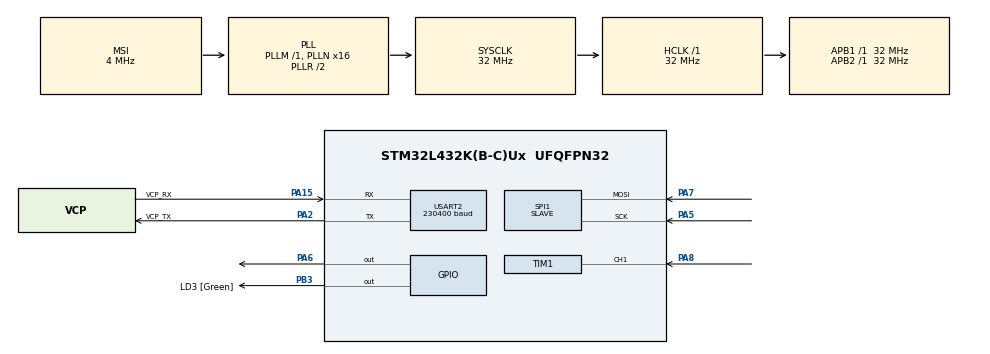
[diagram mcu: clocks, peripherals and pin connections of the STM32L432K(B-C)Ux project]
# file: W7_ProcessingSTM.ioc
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Mcu.Family=STM32L4
Mcu.Name=STM32L432K(B-C)Ux
Mcu.Package=UFQFPN32
NVIC.PriorityGroup=NVIC_PRIORITYGROUP_4
NVIC.SPI1_IRQn=true\:0\:0\:true\:false\:true\:true\:true\:true
NVIC.TIM1_CC_IRQn=true\:2\:0\:true\:false\:true\:true\:true\:true
NVIC.TIM1_UP_TIM16_IRQn=true\:3\:0\:true\:false\:true\:true\:true\:true
NVIC.TIM7_IRQn=true\:4\:0\:true\:false\:true\:true\:true\:true
NVIC.USART2_IRQn=true\:1\:0\:true\:false\:true\:true\:true\:true
PA0.GPIO_Label=MCO [High speed clock in]
PA0.Mode=HSE-External-Clock-Source-for-LittleOrca
PA0.Signal=RCC_CK_IN
PA13\ (JTMS-SWDIO).GPIO_Label=SWDIO
PA13\ (JTMS-SWDIO).Mode=Serial_Wire
PA13\ (JTMS-SWDIO).Signal=SYS_JTMS-SWDIO
PA14\ (JTCK-SWCLK).GPIO_Label=SWCLK
PA14\ (JTCK-SWCLK).Mode=Serial_Wire
PA14\ (JTCK-SWCLK).Signal=SYS_JTCK-SWCLK
PA15\ (JTDI).GPIO_Label=VCP_RX
PA15\ (JTDI).Mode=Asynchronous
PA15\ (JTDI).Signal=USART2_RX
PA2.GPIO_Label=VCP_TX
PA2.Mode=Asynchronous
PA2.Signal=USART2_TX
PA5.Mode=RX_Only_Simplex_Unidirect_Slave
PA5.Signal=SPI1_SCK
PA6.Signal=GPIO_Output
PA7.Mode=RX_Only_Simplex_Unidirect_Slave
PA7.Signal=SPI1_MOSI
PA8.Signal=S_TIM1_CH1
PB3\ (JTDO-TRACESWO).GPIO_Label=LD3 [Green]
PB3\ (JTDO-TRACESWO).Signal=GPIO_Output
PC14-OSC32_IN\ (PC14).Mode=LSE-External-Oscillator
PC14-OSC32_IN\ (PC14).Signal=RCC_OSC32_IN
PC15-OSC32_OUT\ (PC15).Mode=LSE-External-Oscillator
PC15-OSC32_OUT\ (PC15).Signal=RCC_OSC32_OUT
ProjectManager.HeapSize=0x200
ProjectManager.StackSize=0x400
ProjectManager.TargetToolchain=STM32CubeIDE
RCC.AHBFreq_Value=32000000
RCC.APB1Freq_Value=32000000
RCC.APB1TimFreq_Value=32000000
RCC.APB2Freq_Value=32000000
RCC.APB2TimFreq_Value=32000000
RCC.CortexFreq_Value=32000000
RCC.HCLKFreq_Value=32000000
RCC.HSE_VALUE=8000000
RCC.HSI16_VALUE=16000000
RCC.HSI48_VALUE=48000000
RCC.HSI_VALUE=16000000
RCC.MSI_VALUE=4000000
RCC.PLLMUL=RCC_PLLMUL_4
RCC.PLLN=16
RCC.SYSCLKFreq_VALUE=32000000
RCC.SYSCLKSource=RCC_SYSCLKSOURCE_PLLCLK
RCC.VCOOutputFreq_Value=64000000
SH.S_TIM1_CH1.0=TIM1_CH1,Input_Capture1_from_TI1
SPI1.DataSize=SPI_DATASIZE_8BIT
SPI1.Direction=SPI_DIRECTION_2LINES_RXONLY
SPI1.Mode=SPI_MODE_SLAVE
SPI1.VirtualType=VM_SLAVE
TIM1.Channel-Input_Capture1_from_TI1=TIM_CHANNEL_1
TIM1.ICPolarity_CH1=TIM_INPUTCHANNELPOLARITY_BOTHEDGE
TIM1.Prescaler=32-1
TIM16.Period=500-1
TIM16.Prescaler=32000-1
TIM6.Prescaler=32-1
TIM7.Period=1000-1
TIM7.Prescaler=32000-1
USART2.BaudRate=230400
USART2.VirtualMode-Asynchronous=VM_ASYNC
VP_TIM16_VS_ClockSourceINT.Mode=Enable_Timer
VP_TIM1_VS_ClockSourceINT.Mode=Internal
VP_TIM6_VS_ClockSourceINT.Mode=Enable_Timer
VP_TIM7_VS_ClockSourceINT.Mode=Enable_Timer
board=NUCLEO-L432KC

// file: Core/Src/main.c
/* USER CODE BEGIN Header */
/**
  ******************************************************************************
  * @file           : main.c
  * @brief          : Main program body
  ******************************************************************************
  * @attention
  *
  * Copyright (c) 2026 STMicroelectronics.
  * All rights reserved.
  *
  * This software is licensed under terms that can be found in the LICENSE file
  * in the root directory of this software component.
  * If no LICENSE file comes with this software, it is provided AS-IS.
  *
  ******************************************************************************
  */
/* USER CODE END Header */
#include "main.h"

/* USER CODE BEGIN Includes */
#include <stdio.h>
#include <string.h>
/* USER CODE END Includes */

SPI_HandleTypeDef hspi1;

TIM_HandleTypeDef htim1;
TIM_HandleTypeDef htim6;
TIM_HandleTypeDef htim7;
TIM_HandleTypeDef htim16;

UART_HandleTypeDef huart2;

/* USER CODE BEGIN PV */

#define MODE_IDLE      0
#define MODE_MANUAL    1
#define MODE_DISTANCE  2

#define RX_STATE_COMMAND   0
#define RX_STATE_DURATION  1

uint8_t RX_Buffer[2] = {0};
uint8_t MSB_8 = 0;
uint8_t LSB_8 = 0;
uint16_t ADC_output = 0;

uint16_t filtered_ADC_output = 0;

uint16_t ma_buffer[3] = {0, 0, 0};
uint8_t ma_index = 0;
uint8_t ma_count = 0;
uint32_t ma_sum = 0;

char string_1[64] = {0};

uint8_t adc_uart_bytes[2] = {0};

uint8_t uart_cmd[8] = {0};
uint8_t duration_bytes[4] = {0};
uint8_t rx_state = RX_STATE_COMMAND;

uint8_t mode = MODE_IDLE;
uint8_t recording_enabled = 0;

uint32_t manual_duration_seconds = 0;
uint32_t manual_elapsed_seconds = 0;

int flag = 0;
float distance = 0;
uint16_t count_1 = 0;
uint16_t count_2 = 0;
int min_distance = 10;
/* USER CODE END PV */

void SystemClock_Config(void);
static void MX_GPIO_Init(void);
static void MX_USART2_UART_Init(void);
static void MX_SPI1_Init(void);
static void MX_TIM1_Init(void);
static void MX_TIM6_Init(void);
static void MX_TIM16_Init(void);
static void MX_TIM7_Init(void);
/* USER CODE BEGIN PFP */
void delay_uS(uint16_t delay);
void HCSR04_Read(void);
uint16_t moving_average_filter(uint16_t new_sample);
/* USER CODE END PFP */

int main(void)
{

  /* MCU Configuration--------------------------------------------------------*/

  /* Reset of all peripherals, Initializes the Flash interface and the Systick. */
  HAL_Init();

  /* Configure the system clock */
  SystemClock_Config();

  /* Initialize all configured peripherals */
  MX_GPIO_Init();
  MX_USART2_UART_Init();
  MX_SPI1_Init();
  MX_TIM1_Init();
  MX_TIM6_Init();
  MX_TIM16_Init();
  MX_TIM7_Init();
  /* USER CODE BEGIN 2 */

  HAL_SPI_Receive_IT(&hspi1, RX_Buffer, 2); //Receive through SPI interrupt mode

  HAL_UART_Receive_IT(&huart2, uart_cmd, 8);

  HAL_TIM_Base_Start(&htim6);                     // microsecond delay timer
  HAL_TIM_Base_Start_IT(&htim16);                 // trigger ultrasonic every 500 ms
  HAL_TIM_IC_Start_IT(&htim1, TIM_CHANNEL_1);     // echo input capture
  /* USER CODE END 2 */

  /* Infinite loop */
  while (1)
  {

  }
}

void SystemClock_Config(void)
{
  RCC_OscInitTypeDef RCC_OscInitStruct = {0};
  RCC_ClkInitTypeDef RCC_ClkInitStruct = {0};

  /** Configure the main internal regulator output voltage
  */
  if (HAL_PWREx_ControlVoltageScaling(PWR_REGULATOR_VOLTAGE_SCALE1) != HAL_OK)
  {
    Error_Handler();
  }

  /** Configure LSE Drive Capability
  */
  HAL_PWR_EnableBkUpAccess();
  __HAL_RCC_LSEDRIVE_CONFIG(RCC_LSEDRIVE_LOW);

  /** Initializes the RCC Oscillators according to the specified parameters
  * in the RCC_OscInitTypeDef structure.
  */
  RCC_OscInitStruct.OscillatorType = RCC_OSCILLATORTYPE_LSE|RCC_OSCILLATORTYPE_MSI;
  RCC_OscInitStruct.LSEState = RCC_LSE_ON;
  RCC_OscInitStruct.MSIState = RCC_MSI_ON;
  RCC_OscInitStruct.MSICalibrationValue = 0;
  RCC_OscInitStruct.MSIClockRange = RCC_MSIRANGE_6;
  RCC_OscInitStruct.PLL.PLLState = RCC_PLL_ON;
  RCC_OscInitStruct.PLL.PLLSource = RCC_PLLSOURCE_MSI;
  RCC_OscInitStruct.PLL.PLLM = 1;
  RCC_OscInitStruct.PLL.PLLN = 16;
  RCC_OscInitStruct.PLL.PLLP = RCC_PLLP_DIV7;
  RCC_OscInitStruct.PLL.PLLQ = RCC_PLLQ_DIV2;
  RCC_OscInitStruct.PLL.PLLR = RCC_PLLR_DIV2;
  if (HAL_RCC_OscConfig(&RCC_OscInitStruct) != HAL_OK)
  {
    Error_Handler();
  }

  /** Initializes the CPU, AHB and APB buses clocks
  */
  RCC_ClkInitStruct.ClockType = RCC_CLOCKTYPE_HCLK|RCC_CLOCKTYPE_SYSCLK
                              |RCC_CLOCKTYPE_PCLK1|RCC_CLOCKTYPE_PCLK2;
  RCC_ClkInitStruct.SYSCLKSource = RCC_SYSCLKSOURCE_PLLCLK;
  RCC_ClkInitStruct.AHBCLKDivider = RCC_SYSCLK_DIV1;
  RCC_ClkInitStruct.APB1CLKDivider = RCC_HCLK_DIV1;
  RCC_ClkInitStruct.APB2CLKDivider = RCC_HCLK_DIV1;

  if (HAL_RCC_ClockConfig(&RCC_ClkInitStruct, FLASH_LATENCY_1) != HAL_OK)
  {
    Error_Handler();
  }

  /** Enable MSI Auto calibration
  */
  HAL_RCCEx_EnableMSIPLLMode();
}

static void MX_SPI1_Init(void)
{

  /* SPI1 parameter configuration*/
  hspi1.Instance = SPI1;
  hspi1.Init.Mode = SPI_MODE_SLAVE;
  hspi1.Init.Direction = SPI_DIRECTION_2LINES_RXONLY;
  hspi1.Init.DataSize = SPI_DATASIZE_8BIT;
  hspi1.Init.CLKPolarity = SPI_POLARITY_LOW;
  hspi1.Init.CLKPhase = SPI_PHASE_1EDGE;
  hspi1.Init.NSS = SPI_NSS_SOFT;
  hspi1.Init.FirstBit = SPI_FIRSTBIT_MSB;
  hspi1.Init.TIMode = SPI_TIMODE_DISABLE;
  hspi1.Init.CRCCalculation = SPI_CRCCALCULATION_DISABLE;
  hspi1.Init.CRCPolynomial = 7;
  hspi1.Init.CRCLength = SPI_CRC_LENGTH_DATASIZE;
  hspi1.Init.NSSPMode = SPI_NSS_PULSE_DISABLE;
  if (HAL_SPI_Init(&hspi1) != HAL_OK)
  {
    Error_Handler();
  }

}

static void MX_TIM1_Init(void)
{

  TIM_ClockConfigTypeDef sClockSourceConfig = {0};
  TIM_MasterConfigTypeDef sMasterConfig = {0};
  TIM_IC_InitTypeDef sConfigIC = {0};

  htim1.Instance = TIM1;
  htim1.Init.Prescaler = 32-1;
  htim1.Init.CounterMode = TIM_COUNTERMODE_UP;
  htim1.Init.Period = 65535;
  htim1.Init.ClockDivision = TIM_CLOCKDIVISION_DIV1;
  htim1.Init.RepetitionCounter = 0;
  htim1.Init.AutoReloadPreload = TIM_AUTORELOAD_PRELOAD_DISABLE;
  if (HAL_TIM_Base_Init(&htim1) != HAL_OK)
  {
    Error_Handler();
  }
  sClockSourceConfig.ClockSource = TIM_CLOCKSOURCE_INTERNAL;
  if (HAL_TIM_ConfigClockSource(&htim1, &sClockSourceConfig) != HAL_OK)
  {
    Error_Handler();
  }
  if (HAL_TIM_IC_Init(&htim1) != HAL_OK)
  {
    Error_Handler();
  }
  sMasterConfig.MasterOutputTrigger = TIM_TRGO_RESET;
  sMasterConfig.MasterOutputTrigger2 = TIM_TRGO2_RESET;
  sMasterConfig.MasterSlaveMode = TIM_MASTERSLAVEMODE_DISABLE;
  if (HAL_TIMEx_MasterConfigSynchronization(&htim1, &sMasterConfig) != HAL_OK)
  {
    Error_Handler();
  }
  sConfigIC.ICPolarity = TIM_INPUTCHANNELPOLARITY_BOTHEDGE;
  sConfigIC.ICSelection = TIM_ICSELECTION_DIRECTTI;
  sConfigIC.ICPrescaler = TIM_ICPSC_DIV1;
  sConfigIC.ICFilter = 0;
  if (HAL_TIM_IC_ConfigChannel(&htim1, &sConfigIC, TIM_CHANNEL_1) != HAL_OK)
  {
    Error_Handler();
  }

}

static void MX_TIM6_Init(void)
{

  TIM_MasterConfigTypeDef sMasterConfig = {0};

  htim6.Instance = TIM6;
  htim6.Init.Prescaler = 32-1;
  htim6.Init.CounterMode = TIM_COUNTERMODE_UP;
  htim6.Init.Period = 65535;
  htim6.Init.AutoReloadPreload = TIM_AUTORELOAD_PRELOAD_DISABLE;
  if (HAL_TIM_Base_Init(&htim6) != HAL_OK)
  {
    Error_Handler();
  }
  sMasterConfig.MasterOutputTrigger = TIM_TRGO_RESET;
  sMasterConfig.MasterSlaveMode = TIM_MASTERSLAVEMODE_DISABLE;
  if (HAL_TIMEx_MasterConfigSynchronization(&htim6, &sMasterConfig) != HAL_OK)
  {
    Error_Handler();
  }

}

static void MX_TIM7_Init(void)
{

  TIM_MasterConfigTypeDef sMasterConfig = {0};

  htim7.Instance = TIM7;
  htim7.Init.Prescaler = 32000-1;
  htim7.Init.CounterMode = TIM_COUNTERMODE_UP;
  htim7.Init.Period = 1000-1;
  htim7.Init.AutoReloadPreload = TIM_AUTORELOAD_PRELOAD_DISABLE;
  if (HAL_TIM_Base_Init(&htim7) != HAL_OK)
  {
    Error_Handler();
  }
  sMasterConfig.MasterOutputTrigger = TIM_TRGO_RESET;
  sMasterConfig.MasterSlaveMode = TIM_MASTERSLAVEMODE_DISABLE;
  if (HAL_TIMEx_MasterConfigSynchronization(&htim7, &sMasterConfig) != HAL_OK)
  {
    Error_Handler();
  }

}

static void MX_TIM16_Init(void)
{

  htim16.Instance = TIM16;
  htim16.Init.Prescaler = 32000-1;
  htim16.Init.CounterMode = TIM_COUNTERMODE_UP;
  htim16.Init.Period = 500-1;
  htim16.Init.ClockDivision = TIM_CLOCKDIVISION_DIV1;
  htim16.Init.RepetitionCounter = 0;
  htim16.Init.AutoReloadPreload = TIM_AUTORELOAD_PRELOAD_DISABLE;
  if (HAL_TIM_Base_Init(&htim16) != HAL_OK)
  {
    Error_Handler();
  }

}

static void MX_USART2_UART_Init(void)
{

  huart2.Instance = USART2;
  huart2.Init.BaudRate = 230400;
  huart2.Init.WordLength = UART_WORDLENGTH_8B;
  huart2.Init.StopBits = UART_STOPBITS_1;
  huart2.Init.Parity = UART_PARITY_NONE;
  huart2.Init.Mode = UART_MODE_TX_RX;
  huart2.Init.HwFlowCtl = UART_HWCONTROL_NONE;
  huart2.Init.OverSampling = UART_OVERSAMPLING_16;
  huart2.Init.OneBitSampling = UART_ONE_BIT_SAMPLE_DISABLE;
  huart2.AdvancedInit.AdvFeatureInit = UART_ADVFEATURE_NO_INIT;
  if (HAL_UART_Init(&huart2) != HAL_OK)
  {
    Error_Handler();
  }
  /* USER CODE BEGIN USART2_Init 2 */
  //HAL_UART_Transmit_IT(&huart2, (uint8_t*)msg, strlen(msg));
  /* USER CODE END USART2_Init 2 */

}

static void MX_GPIO_Init(void)
{
  GPIO_InitTypeDef GPIO_InitStruct = {0};

  /* GPIO Ports Clock Enable */
  __HAL_RCC_GPIOC_CLK_ENABLE();
  __HAL_RCC_GPIOA_CLK_ENABLE();
  __HAL_RCC_GPIOB_CLK_ENABLE();

  /*Configure GPIO pin Output Level */
  HAL_GPIO_WritePin(GPIOA, GPIO_PIN_6, GPIO_PIN_RESET);

  /*Configure GPIO pin Output Level */
  HAL_GPIO_WritePin(LD3_GPIO_Port, LD3_Pin, GPIO_PIN_RESET);

  /*Configure GPIO pin : PA6 */
  GPIO_InitStruct.Pin = GPIO_PIN_6;
  GPIO_InitStruct.Mode = GPIO_MODE_OUTPUT_PP;
  GPIO_InitStruct.Pull = GPIO_NOPULL;
  GPIO_InitStruct.Speed = GPIO_SPEED_FREQ_LOW;
  HAL_GPIO_Init(GPIOA, &GPIO_InitStruct);

  /*Configure GPIO pin : LD3_Pin */
  GPIO_InitStruct.Pin = LD3_Pin;
  GPIO_InitStruct.Mode = GPIO_MODE_OUTPUT_PP;
  GPIO_InitStruct.Pull = GPIO_NOPULL;
  GPIO_InitStruct.Speed = GPIO_SPEED_FREQ_LOW;
  HAL_GPIO_Init(LD3_GPIO_Port, &GPIO_InitStruct);

}

/* USER CODE BEGIN 4 */
void delay_uS(uint16_t delay)
{
    __HAL_TIM_SET_COUNTER(&htim6, 0);

    while (__HAL_TIM_GET_COUNTER(&htim6) < delay)
    {
    }
}

void HCSR04_Read(void)
{
    HAL_GPIO_WritePin(GPIOA, GPIO_PIN_6, GPIO_PIN_SET);
    delay_uS(10);
    HAL_GPIO_WritePin(GPIOA, GPIO_PIN_6, GPIO_PIN_RESET);
}

void HAL_TIM_PeriodElapsedCallback(TIM_HandleTypeDef *htim)
{
    if (htim->Instance == TIM16)
    {
        HCSR04_Read();

        if (mode == MODE_DISTANCE)
        {
            if (distance <= min_distance)
            {
                recording_enabled = 1;
                HAL_GPIO_WritePin(LD3_GPIO_Port, LD3_Pin, GPIO_PIN_SET);
            }
            else
            {
                recording_enabled = 0;
                HAL_GPIO_WritePin(LD3_GPIO_Port, LD3_Pin, GPIO_PIN_RESET);
            }
        }
    }

    else if (htim->Instance == TIM7)
    {
        if (mode == MODE_MANUAL)
        {
            manual_elapsed_seconds++;

            if (manual_elapsed_seconds >= manual_duration_seconds)
            {
                mode = MODE_IDLE;
                recording_enabled = 0;

                HAL_TIM_Base_Stop_IT(&htim7);
                HAL_GPIO_WritePin(LD3_GPIO_Port, LD3_Pin, GPIO_PIN_RESET);
            }
        }
    }
}

void HAL_TIM_IC_CaptureCallback(TIM_HandleTypeDef *htim)
{
    if (htim->Instance == TIM1 && htim->Channel == HAL_TIM_ACTIVE_CHANNEL_1)
    {
        if (flag == 0)
        {
            count_1 = HAL_TIM_ReadCapturedValue(&htim1, TIM_CHANNEL_1);
            flag = 1;
        }
        else
        {
            count_2 = HAL_TIM_ReadCapturedValue(&htim1, TIM_CHANNEL_1);
            __HAL_TIM_SET_COUNTER(&htim1, 0);

            distance = (count_2 - count_1) / 58.0;

            flag = 0;
        }
    }
}

uint16_t moving_average_filter(uint16_t new_sample)
{
    ma_sum -= ma_buffer[ma_index];

    ma_buffer[ma_index] = new_sample;
    ma_sum += new_sample;

    ma_index++;

    if (ma_index >= 3)
    {
        ma_index = 0;
    }

    if (ma_count < 3)
    {
        ma_count++;
    }

    return (uint16_t)(ma_sum / ma_count);
}

void HAL_SPI_RxCpltCallback(SPI_HandleTypeDef *hspi)
{
    if (hspi->Instance == SPI1)
    {
        LSB_8 = RX_Buffer[0];
        MSB_8 = RX_Buffer[1];

        ADC_output = ((uint16_t)MSB_8 << 8) | LSB_8;

        filtered_ADC_output = moving_average_filter(ADC_output);

        HAL_SPI_Receive_IT(&hspi1, RX_Buffer, 2);

        if (recording_enabled == 1)
        {
            adc_uart_bytes[0] = filtered_ADC_output & 0xFF;
            adc_uart_bytes[1] = (filtered_ADC_output >> 8) & 0xFF;

            HAL_UART_Transmit(&huart2, adc_uart_bytes, 2, 10);
        }
    }
}

void HAL_UART_RxCpltCallback(UART_HandleTypeDef *huart)
{
    if (huart->Instance == USART2)
    {
        if (rx_state == RX_STATE_COMMAND)
        {
            if (strncmp((char*)uart_cmd, "manual  ", 8) == 0)
            {
            	HAL_GPIO_WritePin(LD3_GPIO_Port, LD3_Pin, GPIO_PIN_SET); // command received
                rx_state = RX_STATE_DURATION;
                HAL_UART_Receive_IT(&huart2, duration_bytes, 4);
                return;
            }
            else if (strncmp((char*)uart_cmd, "distance", 8) == 0)
            {
                mode = MODE_DISTANCE;
                recording_enabled = 0;

                HAL_TIM_Base_Stop_IT(&htim7);
                HAL_GPIO_WritePin(LD3_GPIO_Port, LD3_Pin, GPIO_PIN_RESET);
            }
            else
            {
                mode = MODE_IDLE;
                recording_enabled = 0;

                HAL_TIM_Base_Stop_IT(&htim7);
                HAL_GPIO_WritePin(LD3_GPIO_Port, LD3_Pin, GPIO_PIN_RESET);
            }

            HAL_UART_Receive_IT(&huart2, uart_cmd, 8);
        }

        else if (rx_state == RX_STATE_DURATION)
        {
            manual_duration_seconds =
                ((uint32_t)duration_bytes[0]) |
                ((uint32_t)duration_bytes[1] << 8) |
                ((uint32_t)duration_bytes[2] << 16) |
                ((uint32_t)duration_bytes[3] << 24);

            manual_elapsed_seconds = 0;

            mode = MODE_MANUAL;
            recording_enabled = 1;

            HAL_GPIO_WritePin(LD3_GPIO_Port, LD3_Pin, GPIO_PIN_SET);

            __HAL_TIM_SET_COUNTER(&htim7, 0);
            HAL_TIM_Base_Start_IT(&htim7);

            rx_state = RX_STATE_COMMAND;
            HAL_UART_Receive_IT(&huart2, uart_cmd, 8);
        }
    }
}
/* USER CODE END 4 */

void Error_Handler(void)
{
  __disable_irq();
  while (1)
  {
  }
}
